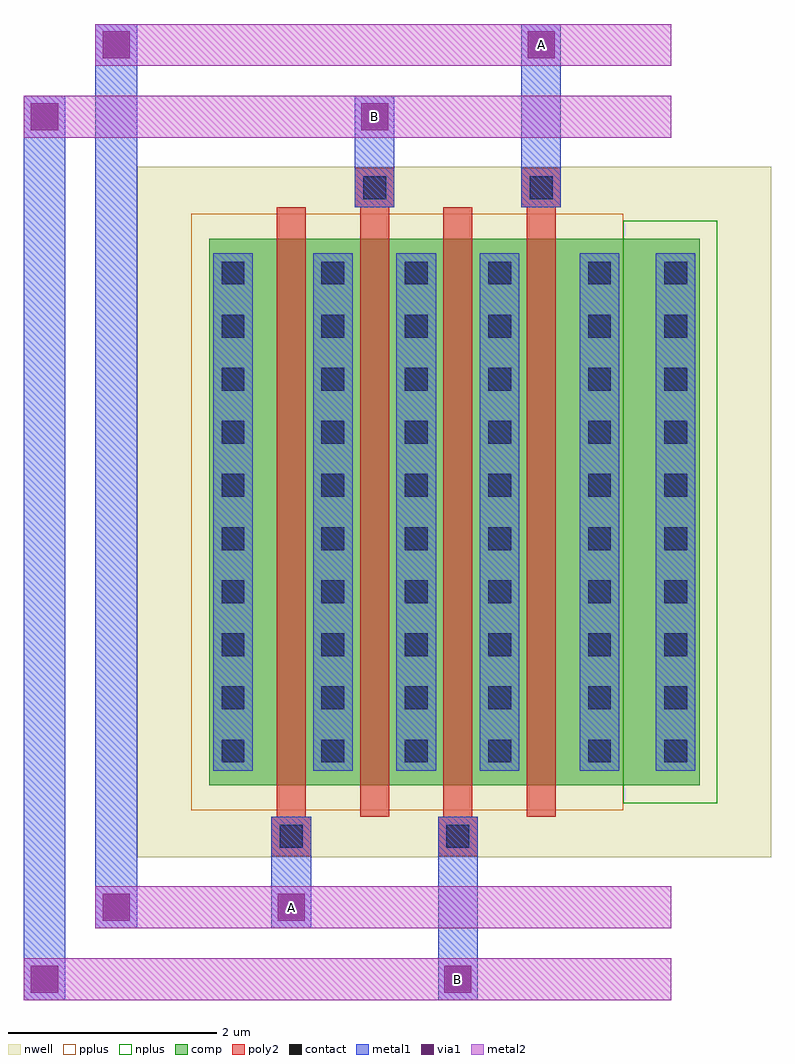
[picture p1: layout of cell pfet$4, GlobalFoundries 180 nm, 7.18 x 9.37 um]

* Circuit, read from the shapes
.subckt pfet$4 A B
XM1 n1 A n2 n3 pfet_03v3 w=5.25u l=0.28u
XM2 n4 B n1 n3 pfet_03v3 w=5.25u l=0.28u
XM3 n5 B n4 n3 pfet_03v3 w=5.25u l=0.28u
XM4 n3 A n5 n3 pfet_03v3 w=5.25u l=0.28u
.ends

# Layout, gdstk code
import gdstk
lib = gdstk.Library(unit=1e-6, precision=1e-09)
def R(c, l, rs):  # rectangles x0, y0, x1, y1
    for r in rs: c.add(gdstk.rectangle(r[:2], r[2:], *l))
def A(c, l, x, y, w, h, nx, ny, dx, dy):  # array of equal rectangles
    R(c, l, [(x+i*dx, y+j*dy, x+i*dx+w, y+j*dy+h) for i in range(nx) for j in range(ny)])
nwell = (21, 0)
comp = (22, 0)
poly2 = (30, 0)
pplus = (31, 0)
nplus = (32, 0)
contact = (33, 0)
metal1 = (34, 0)
via1 = (35, 0)
metal2 = (36, 0)

pfet_4 = lib.new_cell('pfet$4')
R(pfet_4, nwell, [(-1.15,-0.69,4.94,5.94)])
R(pfet_4, comp, [(-0.46,0,0,5.25), (0,0,3.06,5.25), (3.06,0,3.52,5.25), (3.52,0,4.25,5.25)])
A(pfet_4, poly2, 0.19, -0.3, 0.28, 5.85, 4, 1, 0.8, 0)
R(pfet_4, poly2, [(0.14,-0.68,0.52,-0.3), (1.74,-0.68,2.12,-0.3), (0.94,5.55,1.32,5.93), (2.54,5.55,2.92,5.93)])
R(pfet_4, pplus, [(-0.63,-0.24,3.52,5.49)])
R(pfet_4, nplus, [(3.52,-0.17,4.42,5.42)])
A(pfet_4, contact, -0.34, 0.22, 0.22, 0.22, 1, 10, 0, 0.51)
A(pfet_4, contact, 0.62, 0.22, 0.22, 0.22, 3, 10, 0.8, 0.51)
A(pfet_4, contact, 3.18, 0.22, 0.22, 0.22, 1, 10, 0, 0.51)
A(pfet_4, contact, 3.91, 0.22, 0.22, 0.22, 1, 10, 0, 0.51)
R(pfet_4, contact, [(0.22,-0.6,0.44,-0.38), (1.82,-0.6,2.04,-0.38), (1.02,5.63,1.24,5.85), (2.62,5.63,2.84,5.85)])
A(pfet_4, metal1, 0.54, 0.14, 0.38, 4.97, 3, 1, 0.8, 0)
R(pfet_4, metal1, [(-2.24,-2.061,-1.84,6.621), (1.74,-2.061,2.12,-0.299), (-1.55,-1.371,-1.15,7.311), (0.14,-1.371,0.52,-0.299), (0.14,-0.681,0.52,-0.299), (1.74,-0.681,2.12,-0.299), (-0.42,0.14,-0.04,5.11), (3.1,0.14,3.48,5.11), (3.83,0.14,4.21,5.11), (0.94,5.549,1.32,5.931), (0.94,5.549,1.32,6.621), (2.54,5.549,2.92,5.931), (2.54,5.549,2.92,7.311)])
R(pfet_4, via1, [(-2.17,-1.991,-1.91,-1.731), (1.8,-1.991,2.06,-1.731), (-1.48,-1.301,-1.22,-1.041), (0.2,-1.301,0.46,-1.041), (-2.17,6.291,-1.91,6.551), (1,6.291,1.26,6.551), (-1.48,6.981,-1.22,7.241), (2.6,6.981,2.86,7.241)])
R(pfet_4, metal2, [(-2.24,-2.061,0,-1.661), (0,-2.061,3.98,-1.661), (-1.55,-1.371,0,-0.971), (0,-1.371,3.98,-0.971), (-2.24,6.221,0,6.621), (0,6.221,3.98,6.621), (-1.55,6.911,0,7.311), (0,6.911,3.98,7.311)])
pfet_4.add(gdstk.Label('B', (1.13,6.421), layer=36, texttype=10))
pfet_4.add(gdstk.Label('A', (2.73,7.111), layer=36, texttype=10))
pfet_4.add(gdstk.Label('A', (0.33,-1.171), layer=36, texttype=10))
pfet_4.add(gdstk.Label('B', (1.93,-1.861), layer=36, texttype=10))

lib.write_gds('pfet_4.gds')
